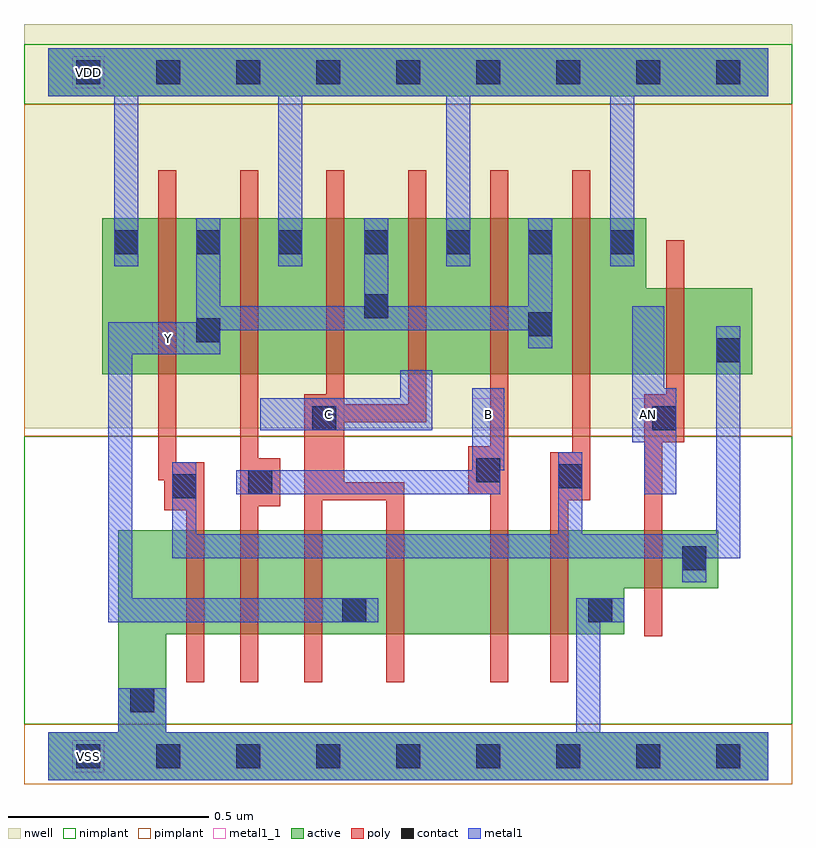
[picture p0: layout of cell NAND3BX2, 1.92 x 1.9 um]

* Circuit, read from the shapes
.subckt NAND3BX2 AN B C VDD VSS Y
M1 n1 n2 VSS VSS nfet w=0.26u l=0.045u
M2 n3 B n1 VSS nfet w=0.26u l=0.045u
M3 Y C n3 VSS nfet w=0.26u l=0.045u
M4 n4 C Y VSS nfet w=0.26u l=0.045u
M5 n5 B n4 VSS nfet w=0.26u l=0.045u
M6 VSS n2 n5 VSS nfet w=0.26u l=0.045u
M7 n2 AN VSS VSS nfet w=0.145u l=0.045u
M8 Y n2 VDD VDD pfet w=0.39u l=0.045u m=2
M9 VDD B Y VDD pfet w=0.39u l=0.045u m=2
M10 Y C VDD VDD pfet w=0.39u l=0.045u m=2
M11 n2 AN VDD VDD pfet w=0.215u l=0.045u
.ends

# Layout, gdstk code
import gdstk
lib = gdstk.Library(unit=1e-6, precision=5e-10)
def R(c, l, rs):  # rectangles x0, y0, x1, y1
    for r in rs: c.add(gdstk.rectangle(r[:2], r[2:], *l))
def A(c, l, x, y, w, h, nx, ny, dx, dy):  # array of equal rectangles
    R(c, l, [(x+i*dx, y+j*dy, x+i*dx+w, y+j*dy+h) for i in range(nx) for j in range(ny)])
def P(c, l, *ps):  # polygons
    for p in ps: c.add(gdstk.Polygon(p, *l))
active = (1, 0)
nwell = (2, 0)
poly = (3, 0)
nimplant = (4, 0)
pimplant = (5, 0)
contact = (6, 0)
metal1 = (7, 0)
metal1_1 = (7, 1)

nand3bx2 = lib.new_cell('NAND3BX2')
R(nand3bx2, active, [(0,1.65,1.8,1.77)])
P(nand3bx2, active, [(0.135,1.345),(1.495,1.345),(1.495,1.17),(1.76,1.17),(1.76,0.955),(0.135,0.955)],
  [(0.175,0.565),(1.675,0.565),(1.675,0.42),(1.44,0.42),(1.44,0.305),(0.295,0.305),(0.295,0.06),(1.8,0.06),(1.8,-0.06),(0,-0.06),(0,0.06),(0.175,0.06)])
R(nand3bx2, nwell, [(-0.06,0.82,1.86,1.83)])
P(nand3bx2, poly, [(0.275,1.465),(0.32,1.465),(0.32,0.735),(0.39,0.735),(0.39,0.185),(0.345,0.185),(0.345,0.615),(0.29,0.615),(0.29,0.69),(0.275,0.69)],
  [(0.48,1.465),(0.525,1.465),(0.525,0.745),(0.58,0.745),(0.58,0.625),(0.525,0.625),(0.525,0.185),(0.48,0.185)],
  [(0.695,1.465),(0.74,1.465),(0.74,0.88),(0.9,0.88),(0.9,1.465),(0.945,1.465),(0.945,0.835),(0.74,0.835),(0.74,0.685),(0.89,0.685),(0.89,0.185),(0.845,0.185),(0.845,0.64),(0.685,0.64),(0.685,0.185),(0.64,0.185),(0.64,0.905),(0.695,0.905)],
  [(1.105,1.465),(1.15,1.465),(1.15,0.185),(1.105,0.185),(1.105,0.655),(1.05,0.655),(1.05,0.775),(1.105,0.775)],
  [(1.31,1.465),(1.355,1.465),(1.355,0.64),(1.3,0.64),(1.3,0.185),(1.255,0.185),(1.255,0.76),(1.31,0.76)],
  [(1.545,1.29),(1.59,1.29),(1.59,0.785),(1.535,0.785),(1.535,0.3),(1.49,0.3),(1.49,0.905),(1.545,0.905)])
R(nand3bx2, nimplant, [(-0.06,0.08,1.86,0.8), (-0.06,1.63,1.86,1.78)])
R(nand3bx2, pimplant, [(-0.06,-0.07,1.86,0.08), (-0.06,0.8,1.86,1.63)])
A(nand3bx2, contact, 0.07, -0.03, 0.06, 0.06, 9, 2, 0.2, 1.71)
A(nand3bx2, contact, 0.165, 1.255, 0.06, 0.06, 3, 1, 0.205, 0)
A(nand3bx2, contact, 0.79, 1.255, 0.06, 0.06, 4, 1, 0.205, 0)
R(nand3bx2, contact, [(0.205,0.11,0.265,0.17), (0.735,0.335,0.795,0.395), (1.35,0.335,1.41,0.395), (1.585,0.465,1.645,0.525), (0.31,0.645,0.37,0.705), (0.5,0.655,0.56,0.715), (1.275,0.67,1.335,0.73), (1.07,0.685,1.13,0.745), (0.66,0.815,0.72,0.875), (1.51,0.815,1.57,0.875), (1.67,0.985,1.73,1.045), (0.37,1.035,0.43,1.095), (1.2,1.05,1.26,1.11), (0.79,1.095,0.85,1.155)])
P(nand3bx2, metal1, [(0,1.77),(1.8,1.77),(1.8,1.65),(1.465,1.65),(1.465,1.225),(1.405,1.225),(1.405,1.65),(1.055,1.65),(1.055,1.225),(0.995,1.225),(0.995,1.65),(0.635,1.65),(0.635,1.225),(0.575,1.225),(0.575,1.65),(0.225,1.65),(0.225,1.225),(0.165,1.225),(0.165,1.65),(0,1.65)],
  [(0.37,1.345),(0.43,1.345),(0.43,1.125),(0.79,1.125),(0.79,1.345),(0.85,1.345),(0.85,1.125),(1.2,1.125),(1.2,1.345),(1.26,1.345),(1.26,1.02),(1.2,1.02),(1.2,1.065),(0.43,1.065),(0.43,1.005),(0.21,1.005),(0.21,0.395),(0.825,0.395),(0.825,0.335),(0.15,0.335),(0.15,1.085),(0.37,1.085)],
  [(0.31,0.735),(0.37,0.735),(0.37,0.555),(1.275,0.555),(1.275,0.76),(1.335,0.76),(1.335,0.555),(1.67,0.555),(1.67,1.075),(1.73,1.075),(1.73,0.495),(1.645,0.495),(1.645,0.435),(1.585,0.435),(1.585,0.495),(0.31,0.495)],
  [(0.88,0.965),(0.96,0.965),(0.96,0.815),(0.53,0.815),(0.53,0.895),(0.88,0.895)],
  [(1.06,0.92),(1.14,0.92),(1.14,0.715),(1.13,0.715),(1.13,0.655),(0.47,0.655),(0.47,0.715),(1.06,0.715)],
  [(1.46,1.125),(1.54,1.125),(1.54,0.92),(1.57,0.92),(1.57,0.655),(1.49,0.655),(1.49,0.785),(1.46,0.785)],
  [(1.32,0.395),(1.44,0.395),(1.44,0.335),(1.38,0.335),(1.38,0.06),(1.8,0.06),(1.8,-0.06),(0,-0.06),(0,0.06),(0.175,0.06),(0.175,0.17),(0.295,0.17),(0.295,0.06),(1.32,0.06)])
A(nand3bx2, metal1_1, 0.66, 0.815, 0.08, 0.08, 3, 1, 0.4, 0)
R(nand3bx2, metal1_1, [(0.06,-0.04,0.14,0.04), (0.26,1.005,0.34,1.085), (0.06,1.67,0.14,1.75)])
nand3bx2.add(gdstk.Label('Y', (0.3,1.045), layer=7, texttype=1))
nand3bx2.add(gdstk.Label('C', (0.7,0.855), layer=7, texttype=1))
nand3bx2.add(gdstk.Label('B', (1.1,0.855), layer=7, texttype=1))
nand3bx2.add(gdstk.Label('AN', (1.5,0.855), layer=7, texttype=1))
nand3bx2.add(gdstk.Label('VDD', (0.1,1.71), layer=7, texttype=1))
nand3bx2.add(gdstk.Label('VSS', (0.1,0), layer=7, texttype=1))
nand3bx2.add(gdstk.Label('NAND3BX2', (0,0), layer=63, texttype=0))

lib.write_gds('NAND3BX2.gds')
